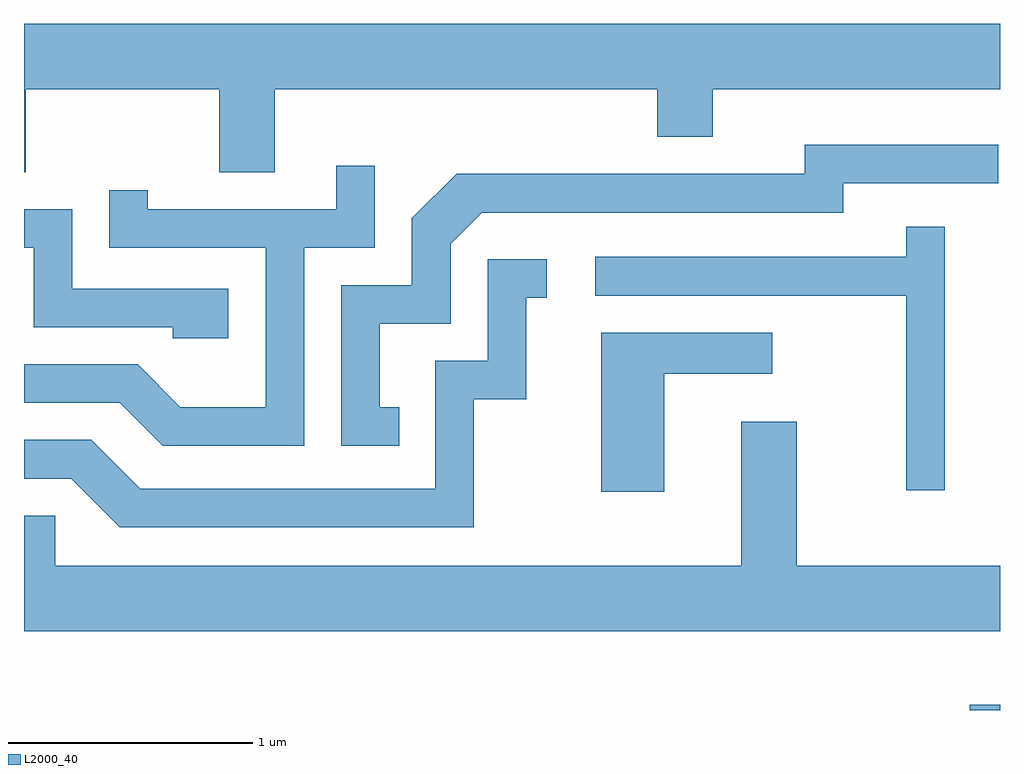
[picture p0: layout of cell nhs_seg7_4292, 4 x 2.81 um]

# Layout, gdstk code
import gdstk
lib = gdstk.Library(unit=1e-6, precision=1e-09)
def R(c, l, rs):  # rectangles x0, y0, x1, y1
    for r in rs: c.add(gdstk.rectangle(r[:2], r[2:], *l))
def P(c, l, *ps):  # polygons
    for p in ps: c.add(gdstk.Polygon(p, *l))
L2000_40 = (2000, 40)

nhs_seg7_4292 = lib.new_cell('nhs_seg7_4292')
R(nhs_seg7_4292, L2000_40, [(321.486,1676.252,321.611,1676.274)])
P(nhs_seg7_4292, L2000_40, [(317.619,1678.796),(318.411,1678.796),(318.411,1678.456),(318.639,1678.456),(318.639,1678.796),(320.206,1678.796),(320.206,1678.601),(320.434,1678.601),(320.434,1678.796),(321.611,1678.796),(321.611,1679.064),(317.611,1679.064),(317.611,1678.456),(317.619,1678.456)],
  [(319.148,1677.494),(319.069,1677.494),(319.069,1677.836),(319.359,1677.836),(319.359,1678.164),(319.487,1678.291),(320.969,1678.291),(320.969,1678.411),(321.603,1678.411),(321.603,1678.569),(320.811,1678.569),(320.811,1678.449),(319.384,1678.449),(319.201,1678.267),(319.201,1677.994),(318.911,1677.994),(318.911,1677.336),(319.148,1677.336)],
  [(318.759,1678.146),(319.049,1678.146),(319.049,1678.483),(318.891,1678.483),(318.891,1678.304),(318.119,1678.304),(318.119,1678.383),(317.961,1678.383),(317.961,1678.146),(318.601,1678.146),(318.601,1677.494),(318.252,1677.494),(318.077,1677.669),(317.611,1677.669),(317.611,1677.511),(318.004,1677.511),(318.179,1677.336),(318.759,1677.336)],
  [(318.449,1677.979),(317.809,1677.979),(317.809,1678.304),(317.611,1678.304),(317.611,1678.146),(317.651,1678.146),(317.651,1677.821),(318.221,1677.821),(318.221,1677.776),(318.449,1677.776)],
  [(321.384,1678.233),(321.226,1678.233),(321.226,1678.109),(319.953,1678.109),(319.953,1677.951),(321.226,1677.951),(321.226,1677.153),(321.384,1677.153)],
  [(319.454,1677.526),(319.669,1677.526),(319.669,1677.941),(319.753,1677.941),(319.753,1678.099),(319.511,1678.099),(319.511,1677.684),(319.296,1677.684),(319.296,1677.159),(318.087,1677.159),(317.887,1677.359),(317.611,1677.359),(317.611,1677.201),(317.804,1677.201),(318.004,1677.001),(319.454,1677.001)],
  [(320.234,1677.631),(320.678,1677.631),(320.678,1677.799),(319.976,1677.799),(319.976,1677.146),(320.234,1677.146)],
  [(321.611,1676.844),(320.779,1676.844),(320.779,1677.434),(320.551,1677.434),(320.551,1676.844),(317.739,1676.844),(317.739,1677.049),(317.611,1677.049),(317.611,1676.576),(321.611,1676.576)])

lib.write_gds('nhs_seg7_4292.gds')
